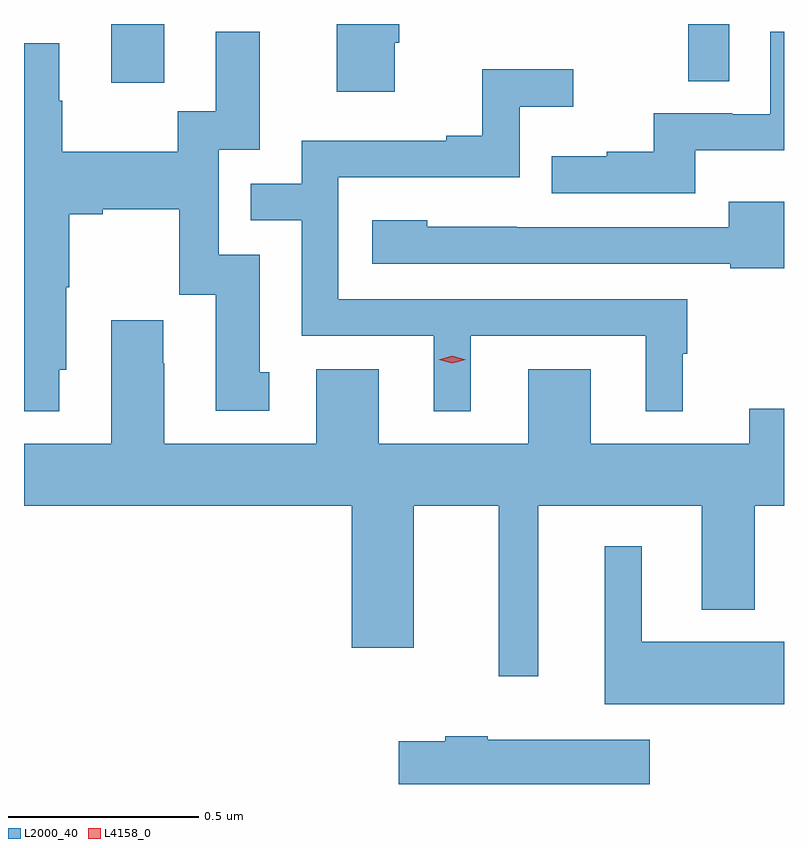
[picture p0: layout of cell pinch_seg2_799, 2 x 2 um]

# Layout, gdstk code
import gdstk
lib = gdstk.Library(unit=1e-6, precision=1e-09)
def R(c, l, rs):  # rectangles x0, y0, x1, y1
    for r in rs: c.add(gdstk.rectangle(r[:2], r[2:], *l))
def P(c, l, *ps):  # polygons
    for p in ps: c.add(gdstk.Polygon(p, *l))
L2000_40 = (2000, 40)
L4158_0 = (4158, 0)

pinch_seg2_799 = lib.new_cell('pinch_seg2_799')
R(pinch_seg2_799, L2000_40, [(727.811,627.438,727.951,627.592), (729.33,627.442,729.438,627.592)])
P(pinch_seg2_799, L2000_40, [(728.557,627.543),(728.57,627.543),(728.57,627.592),(728.405,627.592),(728.405,627.414),(728.557,627.414)],
  [(729.349,627.26),(729.582,627.26),(729.582,627.571),(729.546,627.571),(729.546,627.354),(729.446,627.354),(729.446,627.357),(729.239,627.357),(729.239,627.256),(729.115,627.256),(729.115,627.244),(728.971,627.244),(728.971,627.147),(729.349,627.147)],
  [(727.675,626.682),(727.693,626.682),(727.693,626.899),(727.701,626.899),(727.701,627.092),(727.789,627.092),(727.789,627.104),(727.991,627.104),(727.991,626.88),(728.087,626.88),(728.087,626.574),(728.227,626.574),(728.227,626.676),(728.203,626.676),(728.203,626.985),(728.094,626.985),(728.094,627.261),(728.203,627.261),(728.203,627.571),(728.087,627.571),(728.087,627.362),(727.986,627.362),(727.986,627.256),(727.683,627.256),(727.683,627.39),(727.675,627.39),(727.675,627.541),(727.582,627.541),(727.582,626.573),(727.675,626.573)],
  [(728.758,626.772),(729.218,626.772),(729.218,626.573),(729.316,626.573),(729.316,626.724),(729.328,626.724),(729.328,626.868),(728.409,626.868),(728.409,627.189),(728.886,627.189),(728.886,627.374),(729.028,627.374),(729.028,627.473),(728.788,627.473),(728.788,627.298),(728.693,627.298),(728.693,627.285),(728.313,627.285),(728.313,627.171),(728.179,627.171),(728.179,627.075),(728.313,627.075),(728.313,626.772),(728.66,626.772),(728.66,626.573),(728.758,626.573)],
  [(729.582,627.124),(729.437,627.124),(729.437,627.057),(728.879,627.057),(728.879,627.058),(728.643,627.058),(728.643,627.076),(728.499,627.076),(728.499,626.961),(729.441,626.961),(729.441,626.949),(729.582,626.949)],
  [(728.935,626.324),(729.365,626.324),(729.365,626.051),(729.505,626.051),(729.505,626.324),(729.582,626.324),(729.582,626.579),(729.491,626.579),(729.491,626.488),(729.073,626.488),(729.073,626.683),(728.909,626.683),(728.909,626.488),(728.515,626.488),(728.515,626.683),(728.351,626.683),(728.351,626.488),(727.951,626.488),(727.951,626.699),(727.948,626.699),(727.948,626.812),(727.811,626.812),(727.811,626.488),(727.582,626.488),(727.582,626.324),(728.444,626.324),(728.444,625.95),(728.608,625.95),(728.608,626.324),(728.831,626.324),(728.831,625.875),(728.935,625.875)],
  [(729.582,625.966),(729.208,625.966),(729.208,626.218),(729.11,626.218),(729.11,625.802),(729.582,625.802)],
  [(729.229,625.708),(728.802,625.708),(728.802,625.718),(728.691,625.718),(728.691,625.705),(728.568,625.705),(728.568,625.592),(729.229,625.592)])
P(pinch_seg2_799, L4158_0, [(728.709,626.699),(728.673,626.708),(728.673,626.709),(728.673,626.709),(728.709,626.719),(728.745,626.709),(728.745,626.709),(728.745,626.708)])

lib.write_gds('pinch_seg2_799.gds')
